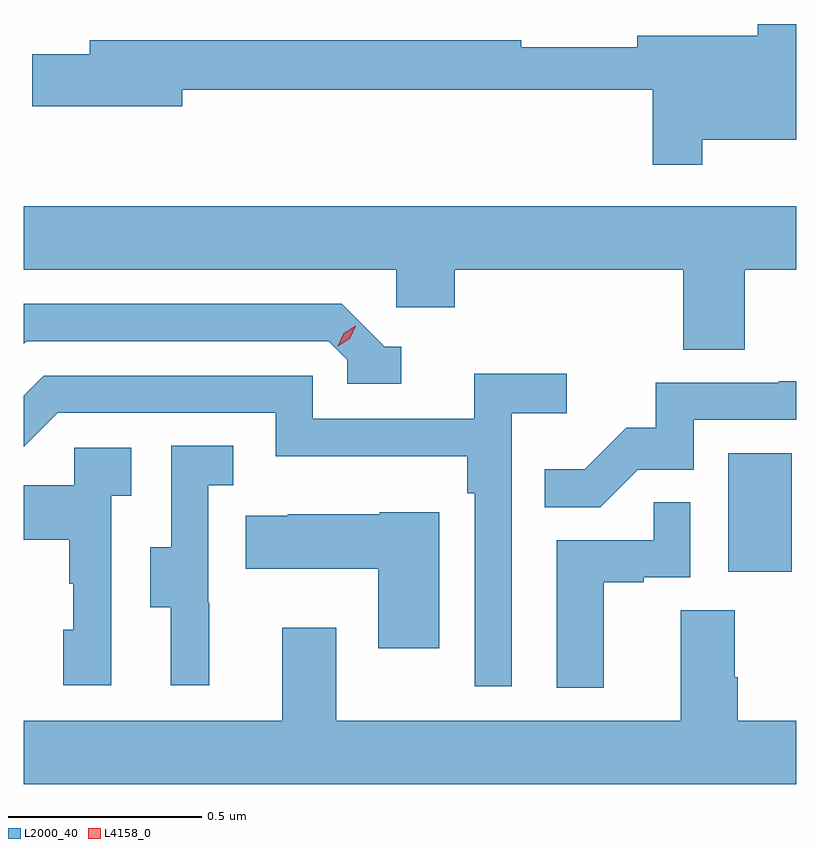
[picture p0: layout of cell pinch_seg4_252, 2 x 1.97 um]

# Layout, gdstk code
import gdstk
lib = gdstk.Library(unit=1e-6, precision=1e-09)
def R(c, l, rs):  # rectangles x0, y0, x1, y1
    for r in rs: c.add(gdstk.rectangle(r[:2], r[2:], *l))
def P(c, l, *ps):  # polygons
    for p in ps: c.add(gdstk.Polygon(p, *l))
L2000_40 = (2000, 40)
L4158_0 = (4158, 0)

pinch_seg4_252 = lib.new_cell('pinch_seg4_252')
R(pinch_seg4_252, L2000_40, [(912.17,825.342,912.334,825.649)])
P(pinch_seg4_252, L2000_40, [(912.103,826.46),(912.346,826.46),(912.346,826.76),(912.247,826.76),(912.247,826.729),(911.934,826.729),(911.934,826.7),(911.634,826.7),(911.634,826.718),(910.517,826.718),(910.517,826.682),(910.368,826.682),(910.368,826.547),(910.756,826.547),(910.756,826.59),(911.974,826.59),(911.974,826.395),(912.103,826.395)],
  [(912.213,826.124),(912.346,826.124),(912.346,826.288),(910.346,826.288),(910.346,826.124),(911.31,826.124),(911.31,826.026),(911.462,826.026),(911.462,826.124),(912.053,826.124),(912.053,825.916),(912.213,825.916)],
  [(911.323,825.924),(911.28,825.924),(911.169,826.035),(910.346,826.035),(910.346,825.932),(910.353,825.939),(911.136,825.939),(911.184,825.891),(911.184,825.828),(911.323,825.828)],
  [(911.61,825.752),(911.752,825.752),(911.752,825.854),(911.513,825.854),(911.513,825.738),(911.094,825.738),(911.094,825.849),(910.397,825.849),(910.346,825.798),(910.346,825.665),(910.434,825.753),(910.998,825.753),(910.998,825.641),(911.494,825.641),(911.494,825.545),(911.514,825.545),(911.514,825.045),(911.61,825.045)],
  [(911.936,825.606),(912.081,825.606),(912.081,825.735),(912.346,825.735),(912.346,825.835),(912.301,825.835),(912.301,825.831),(911.983,825.831),(911.983,825.714),(911.906,825.714),(911.799,825.607),(911.695,825.607),(911.695,825.508),(911.838,825.508)],
  [(910.826,825.261),(910.824,825.261),(910.824,825.565),(910.888,825.565),(910.888,825.668),(910.728,825.668),(910.728,825.405),(910.673,825.405),(910.673,825.25),(910.727,825.25),(910.727,825.048),(910.826,825.048)],
  [(910.572,825.539),(910.624,825.539),(910.624,825.663),(910.476,825.663),(910.476,825.565),(910.346,825.565),(910.346,825.425),(910.464,825.425),(910.464,825.311),(910.474,825.311),(910.474,825.192),(910.448,825.192),(910.448,825.048),(910.572,825.048)],
  [(911.848,825.315),(911.951,825.315),(911.951,825.327),(912.072,825.327),(912.072,825.521),(911.977,825.521),(911.977,825.423),(911.726,825.423),(911.726,825.041),(911.848,825.041)],
  [(911.422,825.496),(911.268,825.496),(911.268,825.49),(911.029,825.49),(911.029,825.487),(910.921,825.487),(910.921,825.35),(911.264,825.35),(911.264,825.144),(911.422,825.144)],
  [(911.015,825.196),(911.015,824.956),(910.346,824.956),(910.346,824.792),(912.346,824.792),(912.346,824.956),(912.195,824.956),(912.195,825.068),(912.187,825.068),(912.187,825.242),(912.047,825.242),(912.047,824.956),(911.155,824.956),(911.155,825.196)])
P(pinch_seg4_252, L4158_0, [(911.159,825.925),(911.159,825.926),(911.175,825.959),(911.206,825.979),(911.206,825.979),(911.206,825.978),(911.19,825.945),(911.159,825.925)])

lib.write_gds('pinch_seg4_252.gds')
